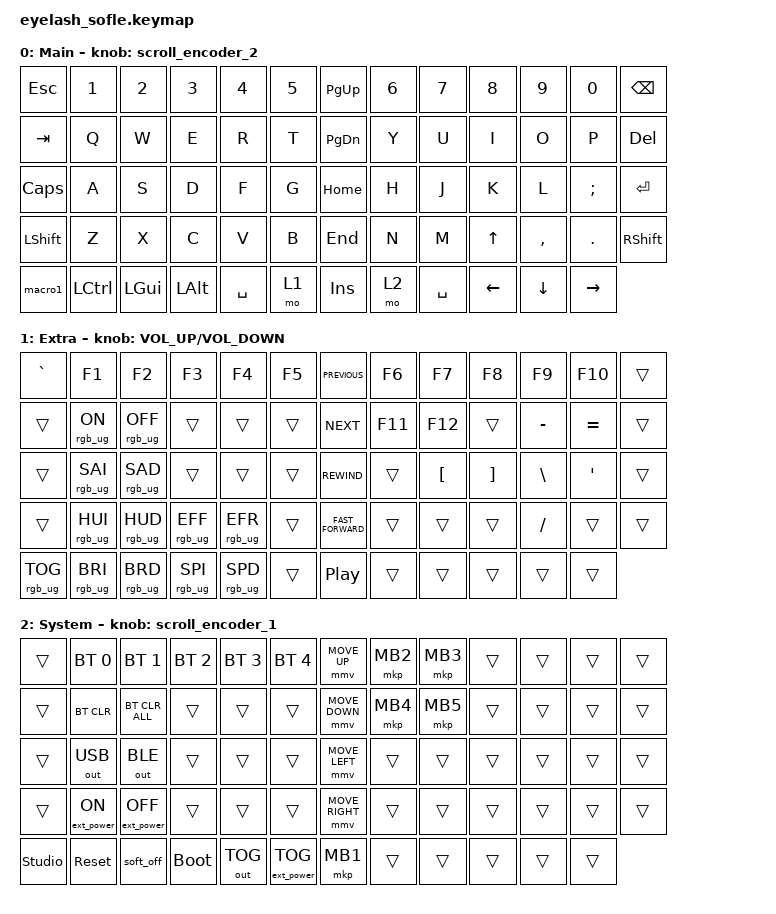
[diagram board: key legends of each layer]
#define ZMK_POINTING_DEFAULT_MOVE_VAL 1200  // 600
#define ZMK_POINTING_DEFAULT_SCRL_VAL 25   // 10

#include <input/processors.dtsi>
#include <zephyr/dt-bindings/input/input-event-codes.h>
#include <behaviors.dtsi>
#include <dt-bindings/zmk/bt.h>
#include <dt-bindings/zmk/ext_power.h>
#include <dt-bindings/zmk/keys.h>
#include <dt-bindings/zmk/outputs.h>
#include <dt-bindings/zmk/pointing.h>
#include <dt-bindings/zmk/rgb.h>

&mmv_input_listener { input-processors = <&zip_xy_scaler 2 1>; };

&msc_input_listener { input-processors = <&zip_scroll_scaler 2 1>; };

&msc {
    acceleration-exponent = <1>;      // 0
    time-to-max-speed-ms = <100>;       // 300
    delay-ms = <0>;                   // 0
};

&mmv {
    time-to-max-speed-ms = <500>;
    acceleration-exponent = <1>;
    trigger-period-ms = <16>;
};

/ {
    scroll_encoder_1: scroll_encoder_1 {
        compatible = "zmk,behavior-sensor-rotate";
        #sensor-binding-cells = <0>;
        bindings = <&msc SCRL_DOWN>, <&msc SCRL_UP>;

        tap-ms = <100>;
    };

    scroll_encoder_2: scroll_encoder_2 {
        compatible = "zmk,behavior-sensor-rotate";
        #sensor-binding-cells = <0>;
        bindings = <&msc SCRL_RIGHT>, <&msc SCRL_LEFT>;

        tap-ms = <100>;
    };

    combos {
        compatible = "zmk,combos";

        Gui {
            bindings = <&kp LEFT_GUI>;
            key-positions = <34 35 36>;
            layers = <0>;
        };

        Ctrl {
            bindings = <&kp LCTRL>;
            key-positions = <33 34 35>;
            layers = <0>;
        };

        Alt {
            bindings = <&kp LEFT_ALT>;
            key-positions = <35 36 37>;
            layers = <0>;
        };
    };

    macros {
        macro1: macro1 {
            compatible = "zmk,behavior-macro";
            #binding-cells = <0>;
            bindings = <&kp LS(T) &kp H &kp I &kp S &kp LS(I) &kp S &kp LS(N) &kp O &kp LS(G) &kp A &kp M &kp E &kp LS(B) &kp O &kp Y &kp EXCL>;
            label = "macro1";
        };
    };

    behaviors {
    };

    keymap {
        compatible = "zmk,keymap";

        layer0 {
            bindings = <
&kp ESC    &kp N1     &kp N2        &kp N3    &kp N4     &kp N5    &kp PG_UP  &kp N6  &kp N7     &kp N8    &kp N9     &kp N0     &kp BACKSPACE
&kp TAB    &kp Q      &kp W         &kp E     &kp R      &kp T     &kp PG_DN  &kp Y   &kp U      &kp I     &kp O      &kp P      &kp DEL
&kp CAPS   &kp A      &kp S         &kp D     &kp F      &kp G     &kp HOME   &kp H   &kp J      &kp K     &kp L      &kp SEMI   &kp ENTER
&kp LSHFT  &kp Z      &kp X         &kp C     &kp V      &kp B     &kp END    &kp N   &kp M      &kp UP    &kp COMMA  &kp DOT    &kp RIGHT_SHIFT
&macro1    &kp LCTRL  &kp LEFT_GUI  &kp LALT  &kp SPACE  &mo 1     &kp INS    &mo 2   &kp SPACE  &kp LEFT  &kp DOWN   &kp RIGHT
            >;

            sensor-bindings = <&scroll_encoder_2>;
            display-name = "Main";
        };

        layer_1 {
            bindings = <
&kp GRAVE        &kp F1           &kp F2           &kp F3           &kp F4           &kp F5    &kp C_PREVIOUS      &kp F6   &kp F7    &kp F8    &kp F9         &kp F10    &trans
&trans           &rgb_ug RGB_ON   &rgb_ug RGB_OFF  &trans           &trans           &trans    &kp C_NEXT          &kp F11  &kp F12   &trans    &kp MINUS      &kp EQUAL  &trans
&trans           &rgb_ug RGB_SAI  &rgb_ug RGB_SAD  &trans           &trans           &trans    &kp C_REWIND        &trans   &kp LBKT  &kp RBKT  &kp BACKSLASH  &kp SQT    &trans
&trans           &rgb_ug RGB_HUI  &rgb_ug RGB_HUD  &rgb_ug RGB_EFF  &rgb_ug RGB_EFR  &trans    &kp C_FAST_FORWARD  &trans   &trans    &trans    &kp SLASH      &trans     &trans
&rgb_ug RGB_TOG  &rgb_ug RGB_BRI  &rgb_ug RGB_BRD  &rgb_ug RGB_SPI  &rgb_ug RGB_SPD  &trans    &kp C_PLAY_PAUSE    &trans   &trans    &trans    &trans         &trans
            >;

            sensor-bindings = <&inc_dec_kp C_VOLUME_UP C_VOLUME_DOWN>;
            display-name = "Extra";
        };

        layer_2 {
            bindings = <
&trans          &bt BT_SEL 0      &bt BT_SEL 1       &bt BT_SEL 2  &bt BT_SEL 3  &bt BT_SEL 4         &mmv MOVE_UP     &mkp MB2  &mkp MB3  &trans  &trans  &trans  &trans
&trans          &bt BT_CLR        &bt BT_CLR_ALL     &trans        &trans        &trans               &mmv MOVE_DOWN   &mkp MB4  &mkp MB5  &trans  &trans  &trans  &trans
&trans          &out OUT_USB      &out OUT_BLE       &trans        &trans        &trans               &mmv MOVE_LEFT   &trans    &trans    &trans  &trans  &trans  &trans
&trans          &ext_power EP_ON  &ext_power EP_OFF  &trans        &trans        &trans               &mmv MOVE_RIGHT  &trans    &trans    &trans  &trans  &trans  &trans
&studio_unlock  &sys_reset        &soft_off          &bootloader   &out OUT_TOG  &ext_power EP_TOG    &mkp MB1         &trans    &trans    &trans  &trans  &trans
            >;

            sensor-bindings = <&scroll_encoder_1>;
            display-name = "System";
        };
    };
};
